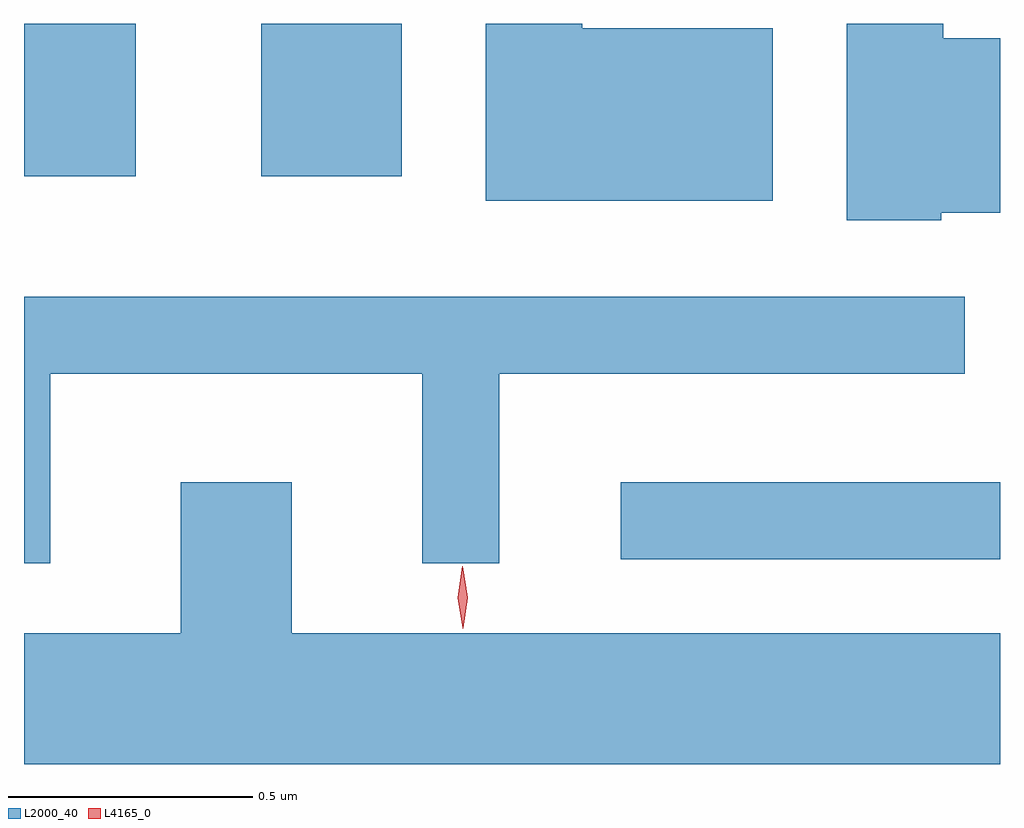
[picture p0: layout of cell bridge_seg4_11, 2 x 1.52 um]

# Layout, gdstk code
import gdstk
lib = gdstk.Library(unit=1e-6, precision=1e-09)
def R(c, l, rs):  # rectangles x0, y0, x1, y1
    for r in rs: c.add(gdstk.rectangle(r[:2], r[2:], *l))
def P(c, l, *ps):  # polygons
    for p in ps: c.add(gdstk.Polygon(p, *l))
L2000_40 = (2000, 40)
L4165_0 = (4165, 0)

bridge_seg4_11 = lib.new_cell('bridge_seg4_11')
R(bridge_seg4_11, L2000_40, [(1147.603,1266.296,1148.38,1266.454), (1146.38,1267.081,1146.609,1267.393), (1146.866,1267.081,1147.154,1267.393)])
P(bridge_seg4_11, L2000_40, [(1147.914,1267.384),(1147.524,1267.384),(1147.524,1267.393),(1147.326,1267.393),(1147.326,1267.031),(1147.914,1267.031)],
  [(1148.26,1267.006),(1148.38,1267.006),(1148.38,1267.364),(1148.264,1267.364),(1148.264,1267.393),(1148.066,1267.393),(1148.066,1266.991),(1148.26,1266.991)],
  [(1146.434,1266.676),(1147.196,1266.676),(1147.196,1266.288),(1147.354,1266.288),(1147.354,1266.676),(1148.308,1266.676),(1148.308,1266.834),(1146.38,1266.834),(1146.38,1266.288),(1146.434,1266.288)],
  [(1148.38,1266.144),(1146.929,1266.144),(1146.929,1266.454),(1146.701,1266.454),(1146.701,1266.144),(1146.38,1266.144),(1146.38,1265.876),(1148.38,1265.876)])
P(bridge_seg4_11, L4165_0, [(1147.279,1266.153),(1147.279,1266.154),(1147.269,1266.217),(1147.278,1266.282),(1147.279,1266.282),(1147.279,1266.282),(1147.289,1266.217),(1147.28,1266.154)])

lib.write_gds('bridge_seg4_11.gds')
